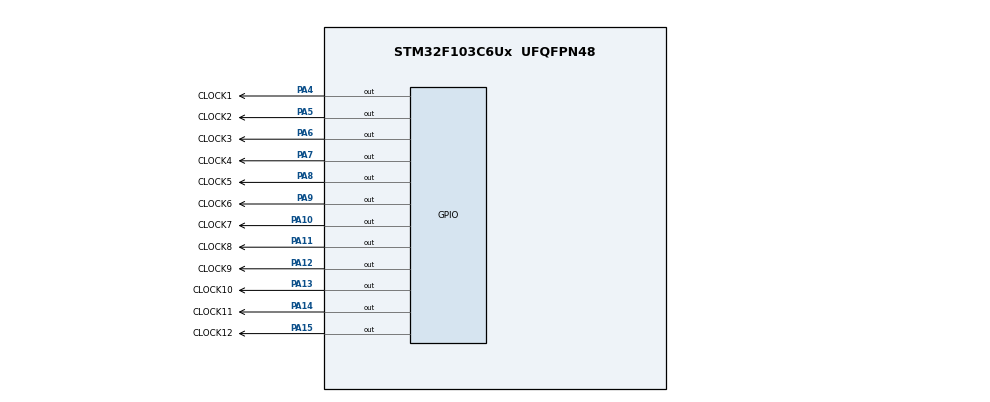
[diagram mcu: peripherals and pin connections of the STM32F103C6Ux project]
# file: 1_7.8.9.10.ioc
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Mcu.Family=STM32F1
Mcu.Name=STM32F103C6Ux
Mcu.Package=UFQFPN48
NVIC.PriorityGroup=NVIC_PRIORITYGROUP_4
PA10.GPIO_Label=CLOCK7
PA10.Signal=GPIO_Output
PA11.GPIO_Label=CLOCK8
PA11.Signal=GPIO_Output
PA12.GPIO_Label=CLOCK9
PA12.Signal=GPIO_Output
PA13.GPIO_Label=CLOCK10
PA13.Signal=GPIO_Output
PA14.GPIO_Label=CLOCK11
PA14.Signal=GPIO_Output
PA15.GPIO_Label=CLOCK12
PA15.Signal=GPIO_Output
PA4.GPIO_Label=CLOCK1
PA4.Signal=GPIO_Output
PA5.GPIO_Label=CLOCK2
PA5.Signal=GPIO_Output
PA6.GPIO_Label=CLOCK3
PA6.Signal=GPIO_Output
PA7.GPIO_Label=CLOCK4
PA7.Signal=GPIO_Output
PA8.GPIO_Label=CLOCK5
PA8.Signal=GPIO_Output
PA9.GPIO_Label=CLOCK6
PA9.Signal=GPIO_Output
ProjectManager.HeapSize=0x200
ProjectManager.StackSize=0x400
ProjectManager.TargetToolchain=STM32CubeIDE
RCC.APB1Freq_Value=8000000
RCC.APB2Freq_Value=8000000
VP_SYS_VS_ND.Mode=No_Debug
board=custom

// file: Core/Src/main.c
/* USER CODE BEGIN Header */
/**
  ******************************************************************************
  * @file           : main.c
  * @brief          : Main program body
  ******************************************************************************
  * @attention
  *
  * <h2><center>&copy; Copyright (c) 2025 STMicroelectronics.
  * All rights reserved.</center></h2>
  *
  * This software component is licensed by ST under BSD 3-Clause license,
  * the "License"; You may not use this file except in compliance with the
  * License. You may obtain a copy of the License at:
  *                        opensource.org/licenses/BSD-3-Clause
  *
  ******************************************************************************
  */
/* USER CODE END Header */
#include "main.h"

/* USER CODE BEGIN PV */
uint16_t CLOCK_Pin[12] = {CLOCK12_Pin, CLOCK1_Pin, CLOCK2_Pin, CLOCK3_Pin, CLOCK4_Pin, CLOCK5_Pin, CLOCK6_Pin, CLOCK7_Pin, CLOCK8_Pin, CLOCK9_Pin, CLOCK10_Pin, CLOCK11_Pin};
/* USER CODE END PV */

void SystemClock_Config(void);
static void MX_GPIO_Init(void);
/* USER CODE BEGIN PFP */
void clearAllClock();
void setNumberOnClock(int);
void clearNumberOnClock(int);
/* USER CODE END PFP */

/* USER CODE BEGIN 0 */
void clearAllClock() {
	for (int i = 0; i < 12; i++) {
		clearNumberOnClock(i);
	}
}

void setNumberOnClock(int num) {
	HAL_GPIO_WritePin(GPIOA, CLOCK_Pin[num], GPIO_PIN_SET);
}

void clearNumberOnClock(int num) {
	HAL_GPIO_WritePin(GPIOA, CLOCK_Pin[num], GPIO_PIN_RESET);
}
/* USER CODE END 0 */

int main(void)
{

  /* MCU Configuration--------------------------------------------------------*/

  /* Reset of all peripherals, Initializes the Flash interface and the Systick. */
  HAL_Init();

  /* Configure the system clock */
  SystemClock_Config();

  /* Initialize all configured peripherals */
  MX_GPIO_Init();
  /* USER CODE BEGIN 2 */
  int currentHour = 11, currentMinute = 32, currentSecond = 9;

  clearAllClock();
  setNumberOnClock(currentHour);
  setNumberOnClock(currentMinute / 5);
  setNumberOnClock(currentSecond / 5);
  /* USER CODE END 2 */

  /* Infinite loop */
  /* USER CODE BEGIN WHILE */
  while (1)
  {
	currentSecond++;
	if (currentSecond >= 60) {
		currentSecond = 0;
		currentMinute++;
		if (currentMinute >= 60) {
			currentMinute = 0;
			currentHour++;
			if (currentHour >= 12) currentHour = 0;
		}
	}
	clearAllClock();
	setNumberOnClock(currentHour);
	setNumberOnClock(currentMinute / 5);
	setNumberOnClock(currentSecond / 5);
	HAL_Delay(1000);
    /* USER CODE END WHILE */

  }
}

void SystemClock_Config(void)
{
  RCC_OscInitTypeDef RCC_OscInitStruct = {0};
  RCC_ClkInitTypeDef RCC_ClkInitStruct = {0};

  /** Initializes the RCC Oscillators according to the specified parameters
  * in the RCC_OscInitTypeDef structure.
  */
  RCC_OscInitStruct.OscillatorType = RCC_OSCILLATORTYPE_HSI;
  RCC_OscInitStruct.HSIState = RCC_HSI_ON;
  RCC_OscInitStruct.HSICalibrationValue = RCC_HSICALIBRATION_DEFAULT;
  RCC_OscInitStruct.PLL.PLLState = RCC_PLL_NONE;
  if (HAL_RCC_OscConfig(&RCC_OscInitStruct) != HAL_OK)
  {
    Error_Handler();
  }
  /** Initializes the CPU, AHB and APB buses clocks
  */
  RCC_ClkInitStruct.ClockType = RCC_CLOCKTYPE_HCLK|RCC_CLOCKTYPE_SYSCLK
                              |RCC_CLOCKTYPE_PCLK1|RCC_CLOCKTYPE_PCLK2;
  RCC_ClkInitStruct.SYSCLKSource = RCC_SYSCLKSOURCE_HSI;
  RCC_ClkInitStruct.AHBCLKDivider = RCC_SYSCLK_DIV1;
  RCC_ClkInitStruct.APB1CLKDivider = RCC_HCLK_DIV1;
  RCC_ClkInitStruct.APB2CLKDivider = RCC_HCLK_DIV1;

  if (HAL_RCC_ClockConfig(&RCC_ClkInitStruct, FLASH_LATENCY_0) != HAL_OK)
  {
    Error_Handler();
  }
}

static void MX_GPIO_Init(void)
{
  GPIO_InitTypeDef GPIO_InitStruct = {0};

  /* GPIO Ports Clock Enable */
  __HAL_RCC_GPIOA_CLK_ENABLE();

  /*Configure GPIO pin Output Level */
  HAL_GPIO_WritePin(GPIOA, CLOCK1_Pin|CLOCK2_Pin|CLOCK3_Pin|CLOCK4_Pin
                          |CLOCK5_Pin|CLOCK6_Pin|CLOCK7_Pin|CLOCK8_Pin
                          |CLOCK9_Pin|CLOCK10_Pin|CLOCK11_Pin|CLOCK12_Pin, GPIO_PIN_RESET);

  /*Configure GPIO pins : CLOCK1_Pin CLOCK2_Pin CLOCK3_Pin CLOCK4_Pin
                           CLOCK5_Pin CLOCK6_Pin CLOCK7_Pin CLOCK8_Pin
                           CLOCK9_Pin CLOCK10_Pin CLOCK11_Pin CLOCK12_Pin */
  GPIO_InitStruct.Pin = CLOCK1_Pin|CLOCK2_Pin|CLOCK3_Pin|CLOCK4_Pin
                          |CLOCK5_Pin|CLOCK6_Pin|CLOCK7_Pin|CLOCK8_Pin
                          |CLOCK9_Pin|CLOCK10_Pin|CLOCK11_Pin|CLOCK12_Pin;
  GPIO_InitStruct.Mode = GPIO_MODE_OUTPUT_PP;
  GPIO_InitStruct.Pull = GPIO_NOPULL;
  GPIO_InitStruct.Speed = GPIO_SPEED_FREQ_LOW;
  HAL_GPIO_Init(GPIOA, &GPIO_InitStruct);

}

void Error_Handler(void)
{
  __disable_irq();
  while (1)
  {
  }
}

/************************ (C) COPYRIGHT STMicroelectronics *****END OF FILE****/
